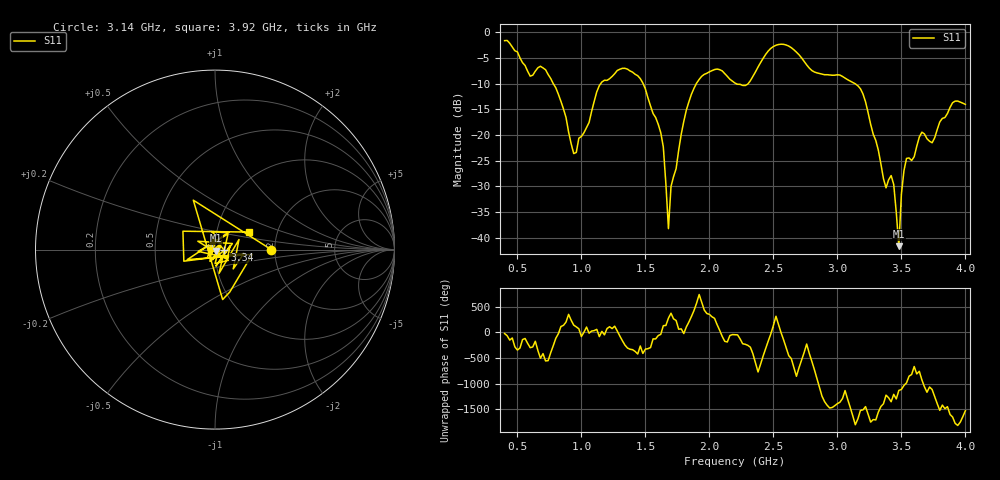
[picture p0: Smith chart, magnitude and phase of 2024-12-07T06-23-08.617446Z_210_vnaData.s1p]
!Created with skrf (http://scikit-rf.org).
# Hz S RI R 50.0
!freq ReS11 ImS11
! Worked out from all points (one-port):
!   181 points, 400 MHz to 4 GHz, reference 50 ohm
!   lowest |S11| = -41.6 dB at 3.48 GHz (marker M1), VSWR 1.02, Z = 50.5 - j0.659 ohm
!   |S11| at or under -10 dB: 779.7 MHz to 1.151 GHz (371.8 MHz wide, 38.5 % of centre); 1.482 GHz to 1.898 GHz (416.6 MHz wide, 24.6 % of centre); 3.136 GHz to end of sweep (the widest 3 of 4)
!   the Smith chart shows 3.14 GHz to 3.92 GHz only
!   S11 on the Smith chart (normalised r, x): 3.14 GHz: 1.92, -0.00; 3.34 GHz: 1.11, -0.01; 3.92 GHz: 1.43, +0.29
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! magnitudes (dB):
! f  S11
! 400 MHz  -1.7
! 600 MHz  -8.6
! 720 MHz  -7.3
! 860 MHz  -14.9
! 960 MHz  -23.4
! 1.14 GHz  -10.4
! 1.3 GHz  -7.2
! 1.46 GHz  -9.0
! 1.6 GHz  -17.9
! 1.64 GHz  -22.3
! 1.68 GHz  -38.2
! 1.7 GHz  -30.0
! 1.76 GHz  -22.9
! 1.84 GHz  -13.5
! 1.94 GHz  -8.6
! 2.2 GHz  -9.9
! 2.5 GHz  -2.8
! 2.66 GHz  -3.4
! 3.1 GHz  -9.5
! 3.14 GHz  -10.1
! 3.34 GHz  -25.6
! 3.38 GHz  -30.3
! 3.44 GHz  -29.6
! 3.48 GHz  -41.6
! 3.52 GHz  -26.9
! 3.56 GHz  -24.5
! 3.92 GHz  -13.4
! 4 GHz  -14.0
